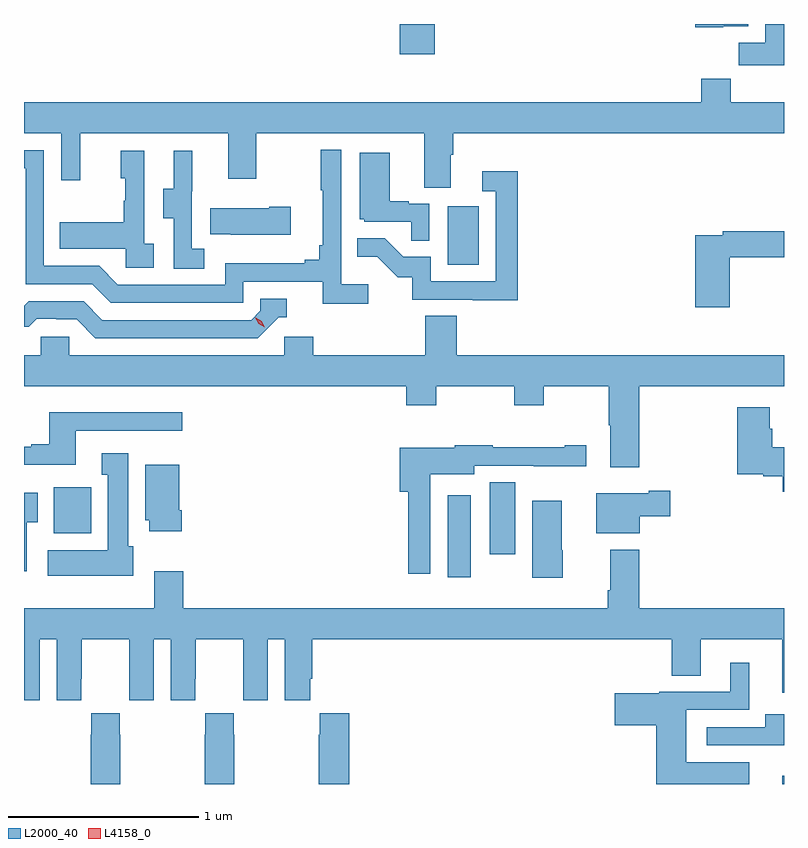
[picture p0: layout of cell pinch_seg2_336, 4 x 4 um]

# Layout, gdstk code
import gdstk
lib = gdstk.Library(unit=1e-6, precision=1e-09)
def R(c, l, rs):  # rectangles x0, y0, x1, y1
    for r in rs: c.add(gdstk.rectangle(r[:2], r[2:], *l))
def P(c, l, *ps):  # polygons
    for p in ps: c.add(gdstk.Polygon(p, *l))
L2000_40 = (2000, 40)
L4158_0 = (4158, 0)

pinch_seg2_336 = lib.new_cell('pinch_seg2_336')
R(pinch_seg2_336, L2000_40, [(989.411,637.551,989.42,637.594), (987.65,638.64,987.772,639.07), (987.872,638.76,988.006,639.14), (985.577,638.87,985.774,639.112), (987.65,640.284,987.814,640.591), (987.398,641.391,987.581,641.551)])
P(pinch_seg2_336, L2000_40, [(989.42,641.551),(989.321,641.551),(989.321,641.452),(989.182,641.452),(989.182,641.334),(989.42,641.334)],
  [(989.1,641.54),(989.233,641.54),(989.233,641.551),(988.952,641.551),(988.952,641.534),(989.1,641.534)],
  [(985.42,640.976),(985.617,640.976),(985.617,640.728),(985.715,640.728),(985.715,640.976),(986.495,640.976),(986.495,640.737),(986.643,640.737),(986.643,640.976),(987.527,640.976),(987.527,640.69),(987.667,640.69),(987.667,640.864),(987.68,640.864),(987.68,640.976),(989.42,640.976),(989.42,641.14),(989.141,641.14),(989.141,641.264),(988.985,641.264),(988.985,641.14),(985.42,641.14)],
  [(987.232,640.18),(987.09,640.18),(987.09,640.888),(986.982,640.888),(986.982,640.675),(986.993,640.675),(986.993,640.387),(986.974,640.387),(986.974,640.31),(986.897,640.31),(986.897,640.291),(986.478,640.291),(986.478,640.179),(985.914,640.179),(985.815,640.278),(985.524,640.278),(985.524,640.887),(985.42,640.887),(985.42,640.791),(985.428,640.791),(985.428,640.182),(985.778,640.182),(985.877,640.083),(986.574,640.083),(986.574,640.194),(986.993,640.194),(986.993,640.078),(987.232,640.078)],
  [(986.104,640.394),(986.052,640.394),(986.052,640.885),(985.928,640.885),(985.928,640.74),(985.954,640.74),(985.954,640.622),(985.944,640.622),(985.944,640.507),(985.609,640.507),(985.609,640.367),(985.956,640.367),(985.956,640.269),(986.104,640.269)],
  [(986.368,640.367),(986.304,640.367),(986.304,640.671),(986.306,640.671),(986.306,640.885),(986.207,640.885),(986.207,640.683),(986.153,640.683),(986.153,640.528),(986.208,640.528),(986.208,640.264),(986.368,640.264)],
  [(987.552,640.605),(987.446,640.605),(987.446,640.618),(987.346,640.618),(987.346,640.873),(987.188,640.873),(987.188,640.524),(987.21,640.524),(987.21,640.509),(987.457,640.509),(987.457,640.411),(987.552,640.411)],
  [(988.019,640.777),(987.831,640.777),(987.831,640.671),(987.903,640.671),(987.903,640.197),(987.561,640.197),(987.561,640.326),(987.417,640.326),(987.319,640.424),(987.175,640.424),(987.175,640.325),(987.279,640.325),(987.386,640.218),(987.463,640.218),(987.463,640.101),(987.781,640.101),(987.781,640.096),(988.019,640.096)],
  [(986.824,640.59),(986.711,640.59),(986.711,640.582),(986.401,640.582),(986.401,640.445),(986.509,640.445),(986.509,640.442),(986.824,640.442)],
  [(989.135,640.324),(989.42,640.324),(989.42,640.46),(989.098,640.46),(989.098,640.44),(988.952,640.44),(988.952,640.059),(989.135,640.059)],
  [(986.76,640.008),(986.803,640.008),(986.803,640.104),(986.664,640.104),(986.664,640.041),(986.616,639.993),(985.833,639.993),(985.734,640.092),(985.445,640.092),(985.42,640.067),(985.42,639.957),(985.445,639.957),(985.487,639.999),(985.59,639.999),(985.59,639.996),(985.697,639.996),(985.796,639.897),(986.649,639.897)],
  [(987.533,640.016),(987.533,639.808),(986.942,639.808),(986.942,639.906),(986.79,639.906),(986.79,639.808),(985.659,639.808),(985.659,639.906),(985.509,639.906),(985.509,639.808),(985.42,639.808),(985.42,639.644),(987.431,639.644),(987.431,639.545),(987.591,639.545),(987.591,639.644),(988,639.644),(988,639.545),(988.155,639.545),(988.155,639.644),(988.498,639.644),(988.498,639.44),(988.505,639.44),(988.505,639.219),(988.658,639.219),(988.658,639.644),(989.42,639.644),(989.42,639.808),(987.698,639.808),(987.698,640.016)],
  [(989.42,639.324),(989.357,639.324),(989.357,639.42),(989.344,639.42),(989.344,639.535),(989.174,639.535),(989.174,639.182),(989.31,639.182),(989.31,639.17),(989.414,639.17),(989.414,639.089),(989.42,639.089)],
  [(985.693,639.411),(986.254,639.411),(986.254,639.508),(985.553,639.508),(985.553,639.34),(985.457,639.34),(985.457,639.327),(985.42,639.327),(985.42,639.23),(985.693,639.23)],
  [(987.558,639.182),(987.79,639.182),(987.79,639.225),(988.102,639.225),(988.102,639.224),(988.378,639.224),(988.378,639.334),(988.265,639.334),(988.265,639.324),(987.886,639.324),(987.886,639.334),(987.686,639.334),(987.686,639.322),(987.398,639.322),(987.398,639.089),(987.442,639.089),(987.442,638.658),(987.558,638.658)],
  [(985.996,638.802),(985.969,638.802),(985.969,639.292),(985.829,639.292),(985.829,639.179),(985.862,639.179),(985.862,638.782),(985.545,638.782),(985.545,638.648),(985.996,638.648)],
  [(986.249,638.992),(986.236,638.992),(986.236,639.232),(986.057,639.232),(986.057,638.94),(986.078,638.94),(986.078,638.88),(986.249,638.88)],
  [(988.66,638.96),(988.822,638.96),(988.822,639.095),(988.709,639.095),(988.709,639.082),(988.433,639.082),(988.433,638.87),(988.66,638.87)],
  [(985.435,638.929),(985.492,638.929),(985.492,639.085),(985.42,639.085),(985.42,638.67),(985.435,638.67)],
  [(988.255,638.781),(988.249,638.781),(988.249,639.043),(988.094,639.043),(988.094,638.637),(988.255,638.637)],
  [(985.504,638.312),(985.592,638.312),(985.592,637.992),(985.722,637.992),(985.722,638.104),(985.723,638.104),(985.723,638.312),(985.973,638.312),(985.973,638.104),(985.974,638.104),(985.974,637.992),(986.104,637.992),(986.104,638.312),(986.192,638.312),(986.192,637.992),(986.322,637.992),(986.322,638.104),(986.323,638.104),(986.323,638.312),(986.573,638.312),(986.573,638.104),(986.574,638.104),(986.574,637.992),(986.704,637.992),(986.704,638.312),(986.792,638.312),(986.792,637.992),(986.926,637.992),(986.926,638.104),(986.936,638.104),(986.936,638.312),(988.829,638.312),(988.829,638.122),(988.981,638.122),(988.981,638.312),(989.411,638.312),(989.411,638.031),(989.42,638.031),(989.42,638.476),(988.658,638.476),(988.658,638.785),(988.505,638.785),(988.505,638.572),(988.493,638.572),(988.493,638.476),(986.258,638.476),(986.258,638.671),(986.105,638.671),(986.105,638.476),(985.42,638.476),(985.42,637.992),(985.504,637.992)],
  [(989.236,637.666),(988.906,637.666),(988.906,637.941),(989.236,637.941),(989.236,638.188),(989.138,638.188),(989.138,638.037),(988.764,638.037),(988.764,638.029),(988.53,638.029),(988.53,637.859),(988.748,637.859),(988.748,637.551),(989.236,637.551)],
  [(986.526,637.811),(986.523,637.811),(986.523,637.924),(986.373,637.924),(986.373,637.811),(986.371,637.811),(986.371,637.551),(986.526,637.551)],
  [(987.131,637.924),(986.977,637.924),(986.977,637.811),(986.971,637.811),(986.971,637.551),(987.131,637.551)],
  [(985.926,637.811),(985.923,637.811),(985.923,637.924),(985.773,637.924),(985.773,637.811),(985.771,637.811),(985.771,637.551),(985.926,637.551)],
  [(989.42,637.918),(989.321,637.918),(989.321,637.851),(989.013,637.851),(989.013,637.755),(989.325,637.755),(989.325,637.754),(989.42,637.754)])
P(pinch_seg2_336, L4158_0, [(986.686,639.954),(986.655,639.973),(986.638,640.006),(986.638,640.006),(986.639,640.006),(986.67,639.987),(986.686,639.954),(986.686,639.954)])

lib.write_gds('pinch_seg2_336.gds')
